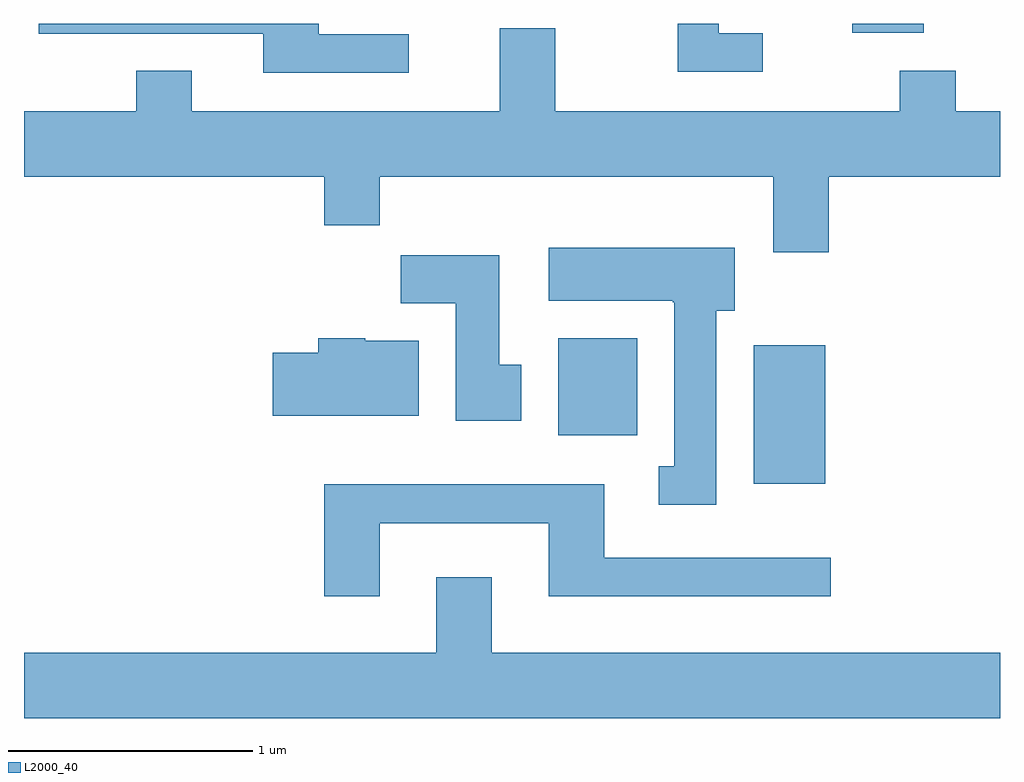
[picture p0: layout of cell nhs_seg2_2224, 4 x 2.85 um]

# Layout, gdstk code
import gdstk
lib = gdstk.Library(unit=1e-6, precision=1e-09)
def R(c, l, rs):  # rectangles x0, y0, x1, y1
    for r in rs: c.add(gdstk.rectangle(r[:2], r[2:], *l))
def P(c, l, *ps):  # polygons
    for p in ps: c.add(gdstk.Polygon(p, *l))
L2000_40 = (2000, 40)

nhs_seg2_2224 = lib.new_cell('nhs_seg2_2224')
R(nhs_seg2_2224, L2000_40, [(252.601,1075.916,252.894,1076.484), (251.801,1076.116,252.124,1076.514), (253.006,1077.766,253.299,1077.802)])
P(nhs_seg2_2224, L2000_40, [(251.188,1077.759),(250.819,1077.759),(250.819,1077.802),(249.671,1077.802),(249.671,1077.761),(250.591,1077.761),(250.591,1077.601),(251.188,1077.601)],
  [(252.638,1077.764),(252.459,1077.764),(252.459,1077.802),(252.291,1077.802),(252.291,1077.606),(252.638,1077.606)],
  [(252.909,1077.176),(253.611,1077.176),(253.611,1077.444),(253.429,1077.444),(253.429,1077.609),(253.201,1077.609),(253.201,1077.444),(251.789,1077.444),(251.789,1077.784),(251.561,1077.784),(251.561,1077.444),(250.299,1077.444),(250.299,1077.609),(250.071,1077.609),(250.071,1077.444),(249.611,1077.444),(249.611,1077.176),(250.841,1077.176),(250.841,1076.976),(251.069,1076.976),(251.069,1077.176),(252.681,1077.176),(252.681,1076.866),(252.909,1076.866)],
  [(252.449,1076.626),(252.524,1076.626),(252.524,1076.884),(251.761,1076.884),(251.761,1076.666),(252.27,1076.666),(252.27,1076.66),(252.276,1076.66),(252.276,1075.989),(252.213,1075.989),(252.213,1075.831),(252.449,1075.831)],
  [(251.649,1076.404),(251.559,1076.404),(251.559,1076.854),(251.156,1076.854),(251.156,1076.656),(251.381,1076.656),(251.381,1076.176),(251.649,1076.176)],
  [(251.229,1076.504),(251.01,1076.504),(251.01,1076.514),(250.816,1076.514),(250.816,1076.454),(250.631,1076.454),(250.631,1076.196),(251.229,1076.196)],
  [(251.069,1075.756),(251.761,1075.756),(251.761,1075.456),(252.918,1075.456),(252.918,1075.614),(251.989,1075.614),(251.989,1075.914),(250.841,1075.914),(250.841,1075.456),(251.069,1075.456)],
  [(253.611,1075.224),(251.529,1075.224),(251.529,1075.534),(251.301,1075.534),(251.301,1075.224),(249.611,1075.224),(249.611,1074.956),(253.611,1074.956)])

lib.write_gds('nhs_seg2_2224.gds')
